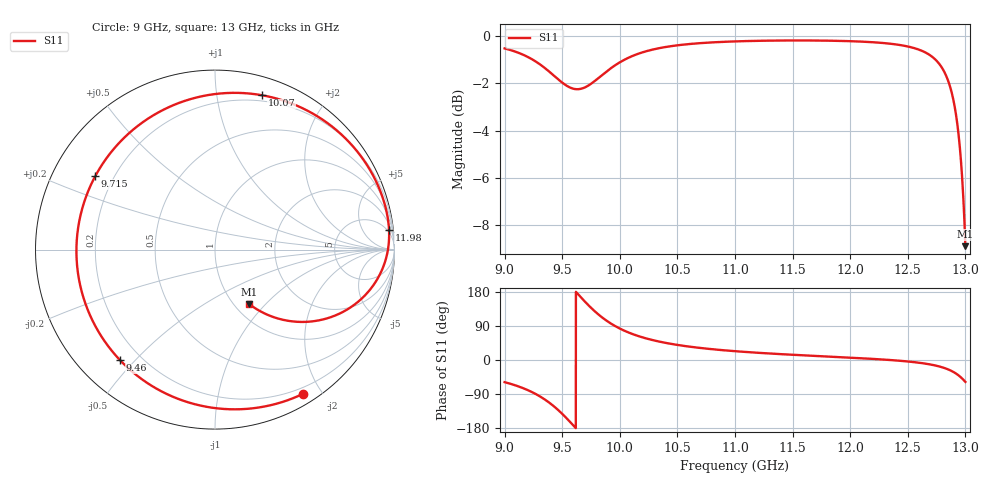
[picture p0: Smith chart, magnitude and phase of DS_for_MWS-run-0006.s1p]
! TOUCHSTONE file generated by CST DESIGN STUDIO
! Date and time: Tue Feb  4 18:25:16 2025
! Project name: C:\Work\MatlabApps\UnitCellOptimizationMatlab\CST\unitcell.cst
! Tree item: Tasks\Sweep1\SPara1\S-Parameters
! Header version: 2024
! Port assignment regex: !\s*Touchstone port\s*([0-9]+)\s*=\s*(CST MWS port|CST DES external port|CST DES block port)\s*(.+)\s* \(\"(.*)\"\)(\s*mode\s*([0-9]+))?.*
! Touchstone port assignment:
! Touchstone port 1 = CST DES external port 1 ("")
# GHz S MA R 50
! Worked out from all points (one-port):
!   4001 points, 9 GHz to 13 GHz, reference 50 ohm
!   lowest |S11| = -8.9 dB at 13 GHz (marker M1), VSWR 2.12, Z = 58.3 - j40.7 ohm
!   |S11| at or under -10 dB: nowhere
!   S11 on the Smith chart (normalised r, x): 9 GHz: 0.13, -1.78; 9.46 GHz: 0.13, -0.45; 9.715 GHz: 0.13, +0.28; 10.07 GHz: 0.15, +1.34; 11.98 GHz: 4, +17; 13 GHz: 1.17, -0.81
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9  0.9417 -58.5
9.143  0.9171 -72.3
9.282  0.8796 -91.8
9.376  0.8455 -110.0
9.46  0.812 -130.7
9.5  0.7972 -142.0
9.557  0.7805 -159.7
9.609  0.7726 -176.8
9.66  0.7732 166.2
9.715  0.7827 148.4
9.781  0.8028 129.0
9.847  0.8273 112.2
9.918  0.8534 97.1
10  0.8799 83.0
10.073  0.8993 72.9
10.263  0.9335 54.2
10.5  0.956 39.8
11  0.9744 23.3
11.5  0.9789 13.8
11.98  0.9758 6.5
12  0.9754 6.2
12.5  0.9506 -3.9
12.697  0.9096 -11.9
12.822  0.8352 -21.5
12.879  0.7629 -28.8
12.928  0.6567 -37.7
12.962  0.5428 -46.0
13  0.3592 -57.8
